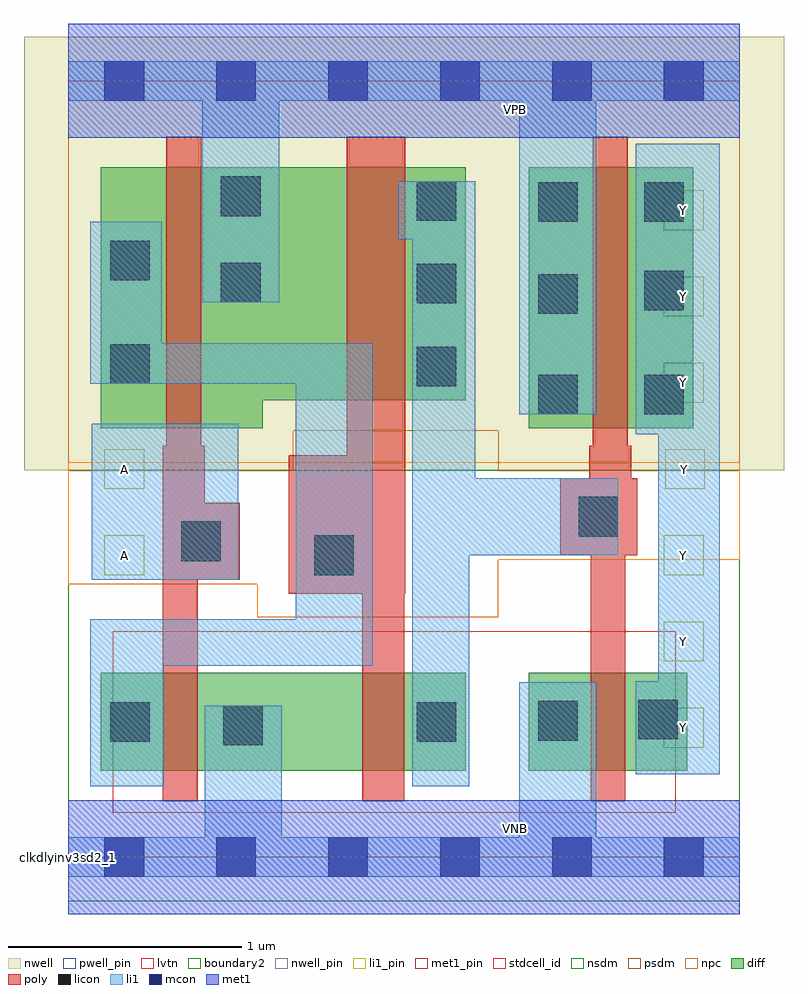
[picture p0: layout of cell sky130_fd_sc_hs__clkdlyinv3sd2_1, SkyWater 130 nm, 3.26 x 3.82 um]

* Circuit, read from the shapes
.subckt sky130_fd_sc_hs__clkdlyinv3sd2_1 A VGND VNB VPB VPWR Y
XM1 VGND A n1 VNB sky130_fd_pr__nfet_01v8_lvt w=0.42 l=0.15
XM2 n2 n1 VGND VNB sky130_fd_pr__nfet_01v8_lvt w=0.42 l=0.18
XM3 Y n2 VGND VNB sky130_fd_pr__nfet_01v8_lvt w=0.42 l=0.15
XM4 VPWR A n1 VPB sky130_fd_pr__pfet_01v8 w=1.12 l=0.15
XM5 n2 n1 VPWR VPB sky130_fd_pr__pfet_01v8 w=1 l=0.25
XM6 Y n2 VPWR VPB sky130_fd_pr__pfet_01v8 w=1.12 l=0.15
.ends

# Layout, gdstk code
import gdstk
lib = gdstk.Library(unit=1e-6, precision=1e-09)
def R(c, l, rs):  # rectangles x0, y0, x1, y1
    for r in rs: c.add(gdstk.rectangle(r[:2], r[2:], *l))
def A(c, l, x, y, w, h, nx, ny, dx, dy):  # array of equal rectangles
    R(c, l, [(x+i*dx, y+j*dy, x+i*dx+w, y+j*dy+h) for i in range(nx) for j in range(ny)])
def P(c, l, *ps):  # polygons
    for p in ps: c.add(gdstk.Polygon(p, *l))
nwell_pin = (64, 16)
nwell = (64, 20)
diff = (65, 20)
poly = (66, 20)
licon = (66, 44)
li1_pin = (67, 16)
li1 = (67, 20)
mcon = (67, 44)
met1_pin = (68, 16)
met1 = (68, 20)
stdcell_id = (81, 4)
nsdm = (93, 44)
psdm = (94, 20)
npc = (95, 20)
pwell_pin = (122, 16)
lvtn = (125, 44)
boundary2 = (236, 0)

sky130_fd_sc_hs__clkdlyi = lib.new_cell('sky130_fd_sc_hs__clkdlyinv3sd2_1')
R(sky130_fd_sc_hs__clkdlyi, nwell_pin, [(0,3.085,2.88,3.33)])
R(sky130_fd_sc_hs__clkdlyi, nwell, [(-0.19,1.66,3.07,3.52)])
R(sky130_fd_sc_hs__clkdlyi, diff, [(0.14,0.37,1.705,0.79), (1.975,0.37,2.655,0.79), (1.975,1.84,2.68,2.96)])
P(sky130_fd_sc_hs__clkdlyi, diff, [(1.705,2.96),(0.14,2.96),(0.14,1.84),(0.835,1.84),(0.835,1.96),(1.705,1.96)])
P(sky130_fd_sc_hs__clkdlyi, poly, [(1.445,3.09),(1.195,3.09),(1.195,1.725),(0.945,1.725),(0.945,1.13),(1.26,1.13),(1.26,0.24),(1.44,0.24),(1.44,1.13),(1.445,1.13)],
  [(2.44,1.625),(2.415,1.625),(2.415,1.765),(2.4,1.765),(2.4,3.09),(2.25,3.09),(2.25,1.765),(2.235,1.765),(2.235,1.625),(2.11,1.625),(2.11,1.295),(2.24,1.295),(2.24,0.24),(2.39,0.24),(2.39,1.295),(2.44,1.295)],
  [(0.735,1.52),(0.585,1.52),(0.585,1.765),(0.57,1.765),(0.57,3.09),(0.42,3.09),(0.42,1.765),(0.405,1.765),(0.405,0.24),(0.555,0.24),(0.555,1.19),(0.735,1.19)])
A(sky130_fd_sc_hs__clkdlyi, licon, 1.495, 2.02, 0.17, 0.17, 1, 3, 0, 0.355)
R(sky130_fd_sc_hs__clkdlyi, licon, [(0.665,0.48,0.835,0.65), (0.18,0.495,0.35,0.665), (1.495,0.495,1.665,0.665), (2.015,0.5,2.185,0.67), (2.445,0.505,2.615,0.675), (1.055,1.21,1.225,1.38), (0.485,1.27,0.655,1.44), (2.19,1.375,2.36,1.545), (2.015,1.9,2.185,2.07), (2.47,1.9,2.64,2.07), (0.18,2.03,0.35,2.2), (2.015,2.33,2.185,2.5), (2.47,2.345,2.64,2.515), (0.655,2.38,0.825,2.55), (0.18,2.475,0.35,2.645), (2.015,2.725,2.185,2.895), (2.47,2.725,2.64,2.895), (0.655,2.75,0.825,2.92)])
A(sky130_fd_sc_hs__clkdlyi, li1_pin, 2.555, 0.47, 0.17, 0.17, 1, 3, 0, 0.37)
A(sky130_fd_sc_hs__clkdlyi, li1_pin, 2.555, 1.95, 0.17, 0.17, 1, 3, 0, 0.37)
R(sky130_fd_sc_hs__clkdlyi, li1_pin, [(0.155,1.21,0.325,1.38), (0.155,1.58,0.325,1.75), (2.56,1.58,2.73,1.75)])
R(sky130_fd_sc_hs__clkdlyi, li1, [(0.1,1.19,0.73,1.86)])
P(sky130_fd_sc_hs__clkdlyi, li1, [(1.305,2.205),(0.4,2.205),(0.4,2.725),(0.095,2.725),(0.095,2.03),(0.975,2.03),(0.975,1.02),(0.095,1.02),(0.095,0.305),(0.41,0.305),(0.41,0.82),(1.305,0.82)],
  [(2.36,1.625),(1.745,1.625),(1.745,2.9),(1.415,2.9),(1.415,2.65),(1.475,2.65),(1.475,0.305),(1.72,0.305),(1.72,1.295),(2.36,1.295)],
  [(2.88,3.415),(0,3.415),(0,3.245),(0.575,3.245),(0.575,2.38),(0.905,2.38),(0.905,3.245),(1.935,3.245),(1.935,1.9),(2.265,1.9),(2.265,3.245),(2.88,3.245)],
  [(2.88,0.085),(2.265,0.085),(2.265,0.75),(1.935,0.75),(1.935,0.085),(0.915,0.085),(0.915,0.65),(0.585,0.65),(0.585,0.085),(0,0.085),(0,-0.085),(2.88,-0.085)],
  [(2.795,3.06),(2.435,3.06),(2.435,1.815),(2.53,1.815),(2.53,0.755),(2.435,0.755),(2.435,0.355),(2.795,0.355)])
A(sky130_fd_sc_hs__clkdlyi, mcon, 0.155, -0.085, 0.17, 0.17, 6, 2, 0.48, 3.33)
R(sky130_fd_sc_hs__clkdlyi, met1_pin, [(0,0,2.88,0.245), (0,3.085,2.88,3.33)])
R(sky130_fd_sc_hs__clkdlyi, met1, [(0,-0.245,2.88,0.245), (0,3.085,2.88,3.575)])
R(sky130_fd_sc_hs__clkdlyi, stdcell_id, [(0,0,2.88,3.33)])
R(sky130_fd_sc_hs__clkdlyi, nsdm, [(0,-0.19,2.88,1.66)])
P(sky130_fd_sc_hs__clkdlyi, psdm, [(2.88,3.52),(0,3.52),(0,1.66),(0.965,1.66),(0.965,1.83),(1.845,1.83),(1.845,1.66),(2.88,1.66)])
P(sky130_fd_sc_hs__clkdlyi, npc, [(2.88,1.695),(0,1.695),(0,1.17),(0.81,1.17),(0.81,1.03),(1.845,1.03),(1.845,1.275),(2.88,1.275)])
R(sky130_fd_sc_hs__clkdlyi, pwell_pin, [(0,0,2.88,0.245)])
R(sky130_fd_sc_hs__clkdlyi, lvtn, [(0.19,0.19,2.605,0.97)])
R(sky130_fd_sc_hs__clkdlyi, boundary2, [(0,0,2.88,3.33)])
sky130_fd_sc_hs__clkdlyi.add(gdstk.Label('clkdlyinv3sd2_1', (0,0), layer=83, texttype=44))
sky130_fd_sc_hs__clkdlyi.add(gdstk.Label('VNB', (1.92,0.123), layer=64, texttype=59))
sky130_fd_sc_hs__clkdlyi.add(gdstk.Label('VPB', (1.92,3.208), layer=64, texttype=5))
sky130_fd_sc_hs__clkdlyi.add(gdstk.Label('VGND', (1.92,0.123), layer=68, texttype=5))
sky130_fd_sc_hs__clkdlyi.add(gdstk.Label('VPWR', (1.92,3.208), layer=68, texttype=5))
sky130_fd_sc_hs__clkdlyi.add(gdstk.Label('A', (0.24,1.295), layer=67, texttype=5))
sky130_fd_sc_hs__clkdlyi.add(gdstk.Label('A', (0.24,1.665), layer=67, texttype=5))
sky130_fd_sc_hs__clkdlyi.add(gdstk.Label('Y', (2.645,1.665), layer=67, texttype=5))
sky130_fd_sc_hs__clkdlyi.add(gdstk.Label('Y', (2.64,2.405), layer=67, texttype=5))
sky130_fd_sc_hs__clkdlyi.add(gdstk.Label('Y', (2.64,2.035), layer=67, texttype=5))
sky130_fd_sc_hs__clkdlyi.add(gdstk.Label('Y', (2.64,0.925), layer=67, texttype=5))
sky130_fd_sc_hs__clkdlyi.add(gdstk.Label('Y', (2.64,0.555), layer=67, texttype=5))
sky130_fd_sc_hs__clkdlyi.add(gdstk.Label('Y', (2.64,1.295), layer=67, texttype=5))
sky130_fd_sc_hs__clkdlyi.add(gdstk.Label('Y', (2.64,2.775), layer=67, texttype=5))

lib.write_gds('sky130_fd_sc_hs__clkdlyinv3sd2_1.gds')
